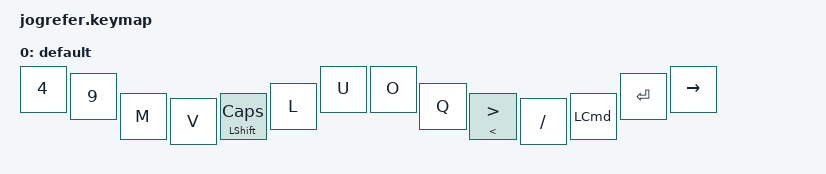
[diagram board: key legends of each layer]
#include <behaviors.dtsi>
#include <dt-bindings/zmk/bt.h>
#include <dt-bindings/zmk/keys.h>
#include <dt-bindings/zmk/outputs.h>
#include <dt-bindings/zmk/pointing.h>

/ {

   behaviors {
      mt {
         tapping-term-ms = <150>;
         retro-tap;
      };
   };

   keymap {
      compatible = "zmk,keymap";

         default_layer {
            /* ╭────────────────────╮   ╭────────────────────╮
               │  ×  1  2  3  4  5  │   │  6  7  8  9  0  \  │
               │  ⭾  F  M  N  G  X  ╰───╯  W  V  B  P  Y  -  │
               │  ⇪  D  T  R  S  L  Ç   ⌗  U  A  E  O  I  +  │
               │  `  Z  Q  H  C  K  [   <  Ñ  J  ,  .  /  ⇪  │
               │  m  ⌃  ⌥  ⌘  ␣  ←  ]   ⌘  ↩︎  ␣  ←  ↑  ↓  →  │
               ╰─────────────────────────────────────────────╯ */
            display-name = "default";
            bindings = <
               &kp ESC          &kp N1     &kp N2    &kp N3    &kp N4     &kp N5                                      &kp N6      &kp N7     &kp N8     &kp N9    &kp N0     &kp NUBS
               &kp TAB          &kp F      &kp M     &kp N     &kp G      &kp X                                       &kp W       &kp V      &kp B      &kp P     &kp Y      &kp MINUS
               &mt LSHIFT CAPS  &kp D      &kp T     &kp R     &kp S      &kp L          &kp TILDE  &none             &kp U       &kp A      &kp E      &kp O     &kp I      &kp PLUS
               &kp GRAVE        &kp Z      &kp Q     &kp H     &kp C      &kp K          &kp LBKT   &mt LT GT         &kp TILDE2  &kp J      &kp COMMA  &kp DOT   &kp SLASH  &mt RSHIFT CAPS
               &kp GLOBE        &kp LCTRL  &kp LALT  &kp LCMD  &kp SPACE  &kp BACKSPACE  &kp RBKT   &mt K_CMENU RCMD  &kp ENTER   &kp SPACE  &kp LEFT   &kp UP    &kp DOWN   &kp RIGHT
            >;
         };
	};
};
